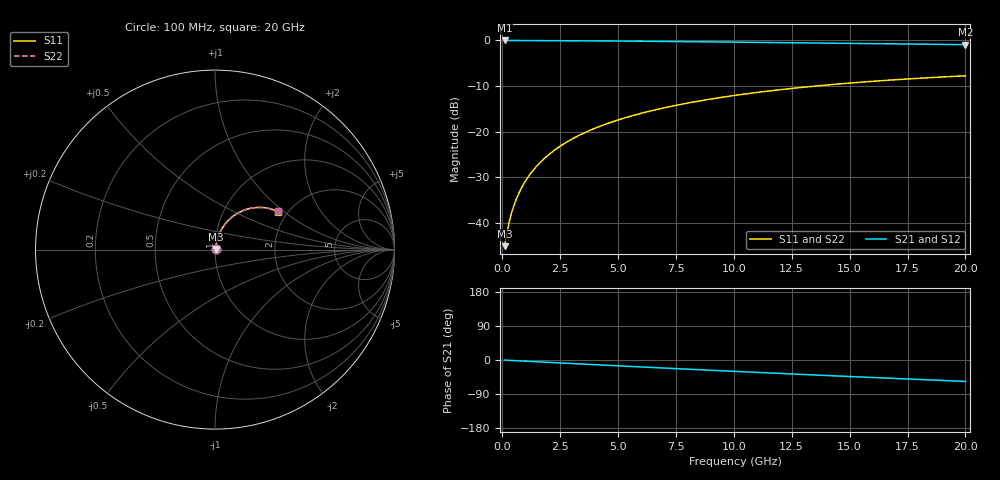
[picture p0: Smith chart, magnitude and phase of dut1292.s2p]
! Touchstone file exported from HFSS 2026.1.0
!  File:  C:/ffzhzh/LocalFiles/Ansys_Project_Files/temp_train_BSMRDL_1292_1783178032_18472.aedt
!  Generated:  11:15:15 PM Jul  4, 2026
!  Design:  BSMRDL
!  Project:  temp_train_BSMRDL_1292_1783178032_18472
! Variables:
!  h_bsmrdl = 4.21um
!  h_ox = 20um
!  h_rdl = 5um
!  h_sub = 80um
!  h_tmrdl = 5um
!  h_tsv = 80um
!  h_via = 3um
!  l_bsmrdl = 926.88um
!  l_sub = 1326.88um
!  l_tmrdl = 200um
!  m_sub = 200um
!  pitch = 35.04um
!  r_tsv = 6um
!  s_tmrdl = 10um
!  w_bsmrdl = 17.34um
!  w_sub = 500um
!  w_tmrdl = 12um
!  x_tsv_center1 = 206um
!  x_tsv_center2 = 1150.22um
!  x_tsv_center3 = 1362.22um
!  x_tsv_center4 = 2306.44um
!  x_tsv_center5 = 2518.44um
!  x_tsv_center6 = 3462.66um
# GHz S MA R 50.000000
! Terminal data exported
! Port[1] = BSM_RDL1_1_T1
! Port[2] = BSM_RDL1_1_T2
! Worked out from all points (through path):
!   200 points, 100 MHz to 20 GHz, reference 50 ohm
!   highest |S21| = -0.04 dB at 100 MHz (marker M1); lowest = -1.0 dB at 20 GHz (marker M2)
!   group delay of S21, straight-line fit = 7.83 ps
!   lowest |S11| = -45.1 dB at 100 MHz (marker M3), VSWR 1.01, Z = 50.5 + j0.312 ohm
!   |S11| at or under -10 dB: start of sweep to 13.57 GHz
!   |S22| runs from -45.1 to -7.8 dB; largest |S21 - S12| = 1.6e-14
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0.1  0.005573 33.7  0.9954 -0.3  0.9954 -0.3  0.005573 33.7
! Gamma 0 0 0 0
! Port Impedance 50 0 50 0
0.2  0.007799 51.0  0.9951 -0.7  0.9951 -0.7  0.007799 51.0
0.3  0.01031 59.5  0.9949 -1.0  0.9949 -1.0  0.01031 59.5
0.4  0.01288 64.6  0.9947 -1.3  0.9947 -1.3  0.01288 64.6
0.5  0.01548 67.9  0.9945 -1.6  0.9945 -1.6  0.01548 67.9
0.6  0.0181 70.3  0.9943 -1.9  0.9943 -1.9  0.0181 70.3
0.8  0.02341 73.4  0.994 -2.5  0.994 -2.5  0.02341 73.4
1.1  0.03147 75.7  0.9936 -3.5  0.9936 -3.5  0.03147 75.7
1.3  0.03688 76.5  0.9933 -4.1  0.9933 -4.1  0.03688 76.5
1.6  0.04502 77.0  0.9928 -5.0  0.9928 -5.0  0.04502 77.0
2.1  0.05856 76.9  0.9917 -6.6  0.9917 -6.6  0.05856 76.9
2.7  0.07467 76.1  0.9901 -8.4  0.9901 -8.4  0.07467 76.1
3.5  0.09582 74.3  0.9875 -10.9  0.9875 -10.9  0.09582 74.4
4.2  0.114 72.6  0.9848 -13.0  0.9848 -13.0  0.1139 72.6
5  0.1342 70.5  0.9814 -15.4  0.9814 -15.4  0.1342 70.5
5.9  0.1563 68.0  0.9772 -18.1  0.9772 -18.1  0.1563 68.0
6.8  0.1778 65.6  0.9727 -20.8  0.9727 -20.8  0.1778 65.6
8.3  0.212 61.5  0.9646 -25.1  0.9646 -25.1  0.2119 61.5
10.1  0.2504 56.6  0.9542 -30.2  0.9542 -30.2  0.2504 56.6
13.4  0.3132 47.9  0.9342 -39.3  0.9342 -39.3  0.3132 47.9
16.7  0.3659 39.4  0.9143 -48.1  0.9143 -48.1  0.3658 39.5
20  0.4082 31.3  0.8961 -56.5  0.8961 -56.5  0.4081 31.4
